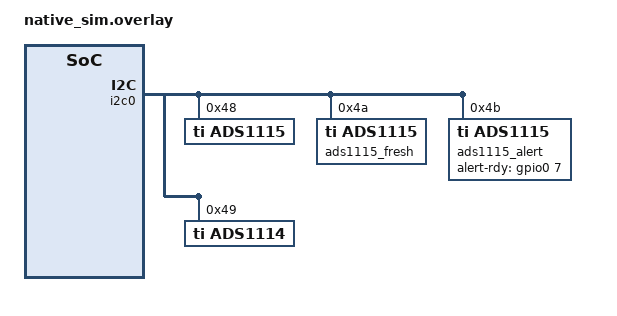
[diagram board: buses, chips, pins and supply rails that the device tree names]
/*
 * SPDX-FileCopyrightText: Copyright The Zephyr Project Contributors
 * SPDX-License-Identifier: Apache-2.0
 */

/*
 * Simulated ADS1x1x chips on the emulated I2C bus of native_sim. The chip that is used
 * for the tests of an unconfigured channel is never configured by any other test.
 */
&i2c0 {
	ads1115: ads1115@48 {
		compatible = "ti,ads1115";
		reg = <0x48>;
		#io-channel-cells = <1>;
	};

	ads1115_fresh: ads1115@4a {
		compatible = "ti,ads1115";
		reg = <0x4a>;
		#io-channel-cells = <1>;
	};

	/* A chip with its ALERT/RDY pin connected: it reports a finished conversion on that pin. */
	ads1115_alert: ads1115@4b {
		compatible = "ti,ads1115";
		reg = <0x4b>;
		alert-rdy-gpios = <&gpio0 7 0>;
		#io-channel-cells = <1>;
	};

	ads1114: ads1114@49 {
		compatible = "ti,ads1114";
		reg = <0x49>;
		#io-channel-cells = <1>;
	};
};
